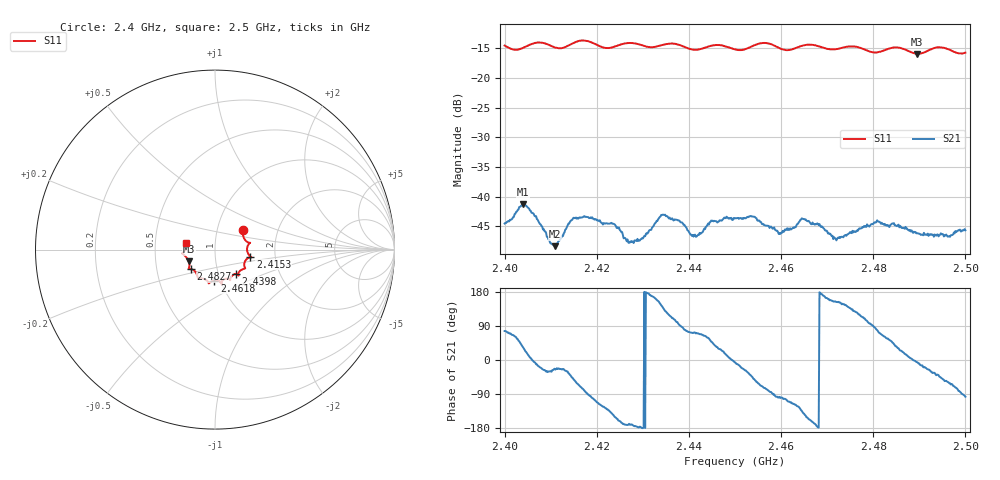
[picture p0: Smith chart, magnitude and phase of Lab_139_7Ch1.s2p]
# Hz S RI R 50
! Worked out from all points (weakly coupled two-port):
!   601 points, 2.4 GHz to 2.5 GHz, reference 50 ohm
!   highest |S21| = -41.32 dB at 2.404 GHz (marker M1); lowest = -48.4 dB at 2.411 GHz (marker M2)
!   lowest |S11| = -15.9 dB at 2.4895 GHz (marker M3), VSWR 1.38, Z = 37 - j5.03 ohm
!   |S11| at or under -10 dB: start of sweep to end of sweep
!   S12 and S22 are empty: the file has one direction only
!   S11 on the Smith chart (normalised r, x): 2.4 GHz: 1.33, +0.29; 2.4153 GHz: 1.49, -0.12; 2.4398 GHz: 1.21, -0.34; 2.4618 GHz: 0.94, -0.33; 2.4827 GHz: 0.75, -0.17; 2.5 GHz: 0.72, +0.06
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2.4e9  0.1552 0.1065  0.00139 0.00576  0 0  0 0
2.404e9  0.1734 0.0471  0.00711 0.00481  0 0  0 0
2.411e9  0.1803 0.0149  0.00345 -0.00162  0 0  0 0
2.415333e9  0.1971 -0.0389  0.00369 -0.00543  0 0  0 0
2.416667e9  0.2029 -0.0432  0.002 -0.00636  0 0  0 0
2.4235e9  0.1626 -0.0827  -0.00478 -0.00347  0 0  0 0
2.4275e9  0.1681 -0.1043  -0.00415 -0.000749  0 0  0 0
2.433333e9  0.1296 -0.1339  -0.00587 0.00266  0 0  0 0
2.434833e9  0.1292 -0.143  -0.00445 0.00545  0 0  0 0
2.439833e9  0.1151 -0.1357  0.00142 0.00496  0 0  0 0
2.4415e9  0.0996 -0.142  0.00155 0.00431  0 0  0 0
2.445e9  0.084 -0.1683  0.00422 0.00457  0 0  0 0
2.45e9  0.0653 -0.162  0.00655 -0.00073  0 0  0 0
2.456333e9  0.0389 -0.1942  0.0016 -0.00552  0 0  0 0
2.461833e9  -0.00328 -0.1727  -0.0018 -0.00492  0 0  0 0
2.464667e9  -0.0317 -0.1853  -0.00482 -0.00436  0 0  0 0
2.466667e9  -0.0348 -0.1881  -0.00556 -0.00179  0 0  0 0
2.471833e9  -0.0682 -0.1615  -0.00399 0.00192  0 0  0 0
2.482667e9  -0.1347 -0.1088  0.00289 0.00495  0 0  0 0
2.483333e9  -0.14 -0.1085  0.00328 0.0046  0 0  0 0
2.4895e9  -0.1459 -0.0662  0.00488 -0.000478  0 0  0 0
2.5e9  -0.1593 0.0389  -0.000629 -0.00516  0 0  0 0
